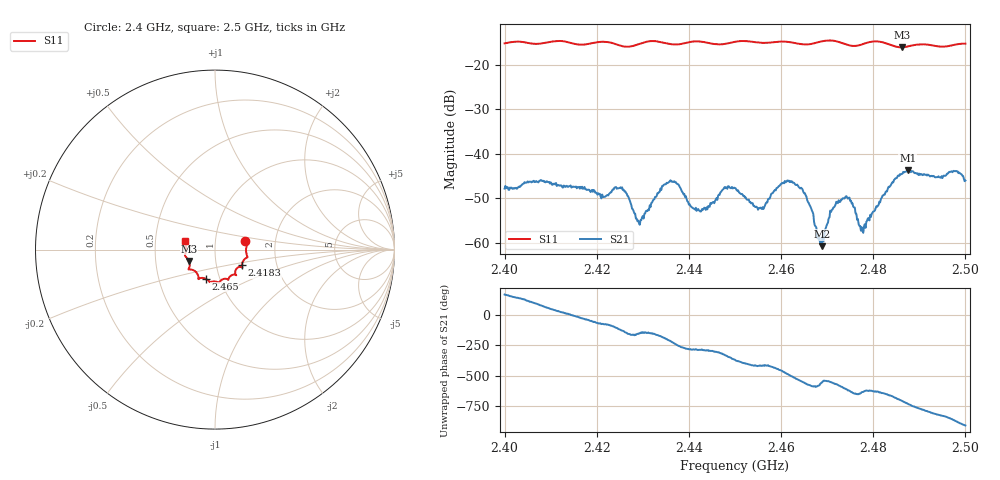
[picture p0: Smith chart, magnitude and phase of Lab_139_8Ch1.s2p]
# Hz S RI R
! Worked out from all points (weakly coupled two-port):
!   601 points, 2.4 GHz to 2.5 GHz, reference 50 ohm
!   highest |S21| = -43.69 dB at 2.4875 GHz (marker M1); lowest = -60.8 dB at 2.4688 GHz (marker M2)
!   lowest |S11| = -16.0 dB at 2.4862 GHz (marker M3), VSWR 1.37, Z = 37.1 - j4.81 ohm
!   |S11| at or under -10 dB: start of sweep to end of sweep
!   S12 and S22 are empty: the file has one direction only
!   S11 on the Smith chart (normalised r, x): 2.4 GHz: 1.40, +0.13; 2.4183 GHz: 1.33, -0.24; 2.465 GHz: 0.86, -0.29; 2.5 GHz: 0.71, +0.07
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2.4e9  0.1689 0.0459  -0.0039 0.00111  0 0  0 0
2.416667e9  0.1548 -0.0682  0.00356 -0.002  0 0  0 0
2.418333e9  0.1499 -0.0867  0.00269 -0.00287  0 0  0 0
2.4255e9  0.1296 -0.0984  -0.00274 -0.00315  0 0  0 0
2.429167e9  0.1122 -0.1302  -0.00148 -0.00073  0 0  0 0
2.433333e9  0.1168 -0.1412  -0.00352 -0.000657  0 0  0 0
2.436833e9  0.0915 -0.1434  -0.00277 0.00405  0 0  0 0
2.442167e9  0.0736 -0.1686  0.000708 0.00219  0 0  0 0
2.45e9  0.0251 -0.1805  0.00404 -0.000697  0 0  0 0
2.455333e9  0.0048 -0.1781  0.00135 -0.00203  0 0  0 0
2.461167e9  -0.0307 -0.1798  -0.00254 -0.00414  0 0  0 0
2.465e9  -0.0528 -0.162  -0.00346 0.000946  0 0  0 0
2.466667e9  -0.0714 -0.1575  -0.00163 0.00164  0 0  0 0
2.468833e9  -0.0889 -0.1616  -0.000876 0.000249  0 0  0 0
2.470833e9  -0.0922 -0.1642  -0.00216 0.000455  0 0  0 0
2.4725e9  -0.0919 -0.1566  -0.00231 0.0019  0 0  0 0
2.474667e9  -0.0991 -0.1343  -0.000592 0.00314  0 0  0 0
2.477833e9  -0.1312 -0.1114  5.76e-05 0.00129  0 0  0 0
2.483333e9  -0.142 -0.0959  0.00194 0.00379  0 0  0 0
2.486167e9  -0.1447 -0.0632  0.00568 0.00164  0 0  0 0
2.4875e9  -0.1532 -0.0505  0.00644 -0.0011  0 0  0 0
2.5e9  -0.167 0.0472  -0.00496 0.000565  0 0  0 0
